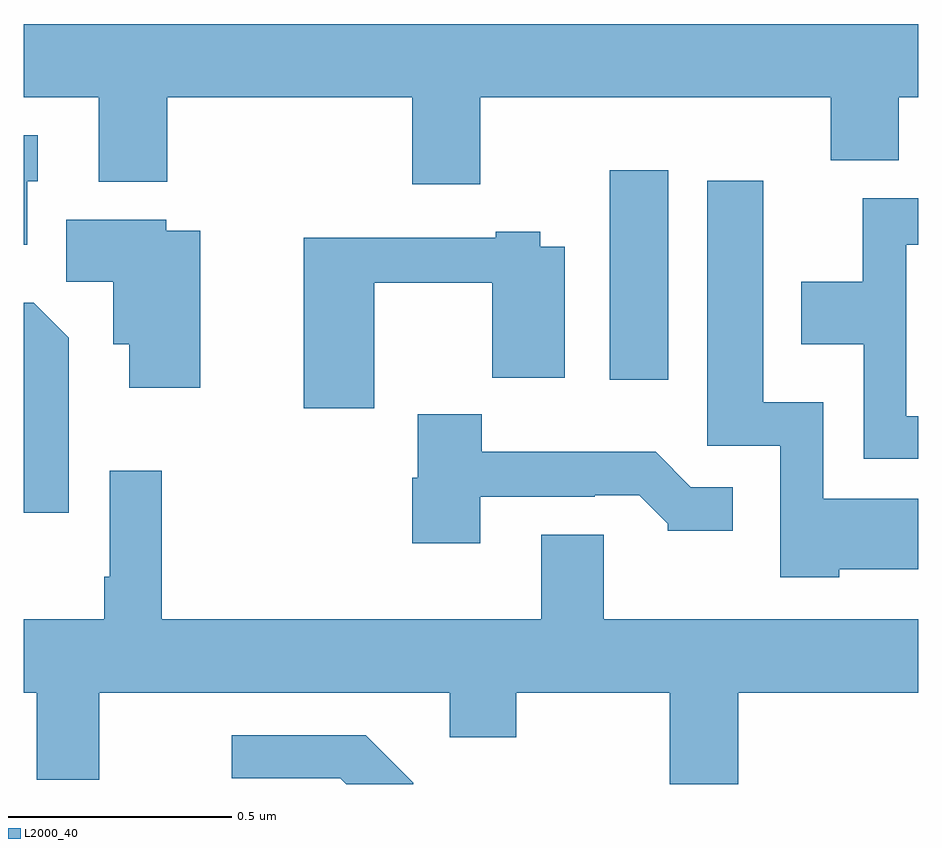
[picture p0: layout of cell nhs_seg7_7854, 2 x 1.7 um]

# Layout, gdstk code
import gdstk
lib = gdstk.Library(unit=1e-6, precision=1e-09)
def R(c, l, rs):  # rectangles x0, y0, x1, y1
    for r in rs: c.add(gdstk.rectangle(r[:2], r[2:], *l))
def P(c, l, *ps):  # polygons
    for p in ps: c.add(gdstk.Polygon(p, *l))
L2000_40 = (2000, 40)

nhs_seg7_7854 = lib.new_cell('nhs_seg7_7854')
R(nhs_seg7_7854, L2000_40, [(217.31,1079.904,217.441,1080.373)])
P(nhs_seg7_7854, L2000_40, [(217.021,1080.536),(217.805,1080.536),(217.805,1080.395),(217.957,1080.395),(217.957,1080.536),(218,1080.536),(218,1080.7),(216,1080.7),(216,1080.536),(216.167,1080.536),(216.167,1080.347),(216.32,1080.347),(216.32,1080.536),(216.869,1080.536),(216.869,1080.342),(217.021,1080.342)],
  [(216.007,1080.348),(216.031,1080.348),(216.031,1080.451),(216,1080.451),(216,1080.206),(216.007,1080.206)],
  [(217.824,1079.48),(218,1079.48),(218,1079.638),(217.788,1079.638),(217.788,1079.854),(217.654,1079.854),(217.654,1080.349),(217.529,1080.349),(217.529,1079.757),(217.692,1079.757),(217.692,1079.462),(217.824,1079.462)],
  [(218,1079.823),(217.974,1079.823),(217.974,1080.206),(218,1080.206),(218,1080.31),(217.876,1080.31),(217.876,1080.124),(217.739,1080.124),(217.739,1079.984),(217.878,1079.984),(217.878,1079.727),(218,1079.727)],
  [(216.394,1080.238),(216.318,1080.238),(216.318,1080.262),(216.095,1080.262),(216.095,1080.124),(216.2,1080.124),(216.2,1079.984),(216.236,1079.984),(216.236,1079.886),(216.394,1079.886)],
  [(216.784,1080.121),(217.048,1080.121),(217.048,1079.909),(217.21,1079.909),(217.21,1080.202),(217.155,1080.202),(217.155,1080.235),(217.055,1080.235),(217.055,1080.222),(216.626,1080.222),(216.626,1079.841),(216.784,1079.841)],
  [(216.1,1079.998),(216.022,1080.076),(216,1080.076),(216,1079.607),(216.1,1079.607)],
  [(217.021,1079.643),(217.277,1079.643),(217.277,1079.646),(217.376,1079.646),(217.44,1079.582),(217.44,1079.567),(217.585,1079.567),(217.585,1079.664),(217.491,1079.664),(217.413,1079.743),(217.024,1079.743),(217.024,1079.827),(216.881,1079.827),(216.881,1079.685),(216.869,1079.685),(216.869,1079.538),(217.021,1079.538)],
  [(217.598,1079.204),(218,1079.204),(218,1079.368),(217.297,1079.368),(217.297,1079.558),(217.157,1079.558),(217.157,1079.368),(216.308,1079.368),(216.308,1079.701),(216.192,1079.701),(216.192,1079.464),(216.18,1079.464),(216.18,1079.368),(216,1079.368),(216,1079.204),(216.029,1079.204),(216.029,1079.01),(216.169,1079.01),(216.169,1079.204),(216.953,1079.204),(216.953,1079.105),(217.101,1079.105),(217.101,1079.204),(217.445,1079.204),(217.445,1079),(217.598,1079)],
  [(216.871,1079.003),(216.765,1079.109),(216.465,1079.109),(216.465,1079.013),(216.708,1079.013),(216.721,1079),(216.871,1079)])

lib.write_gds('nhs_seg7_7854.gds')
